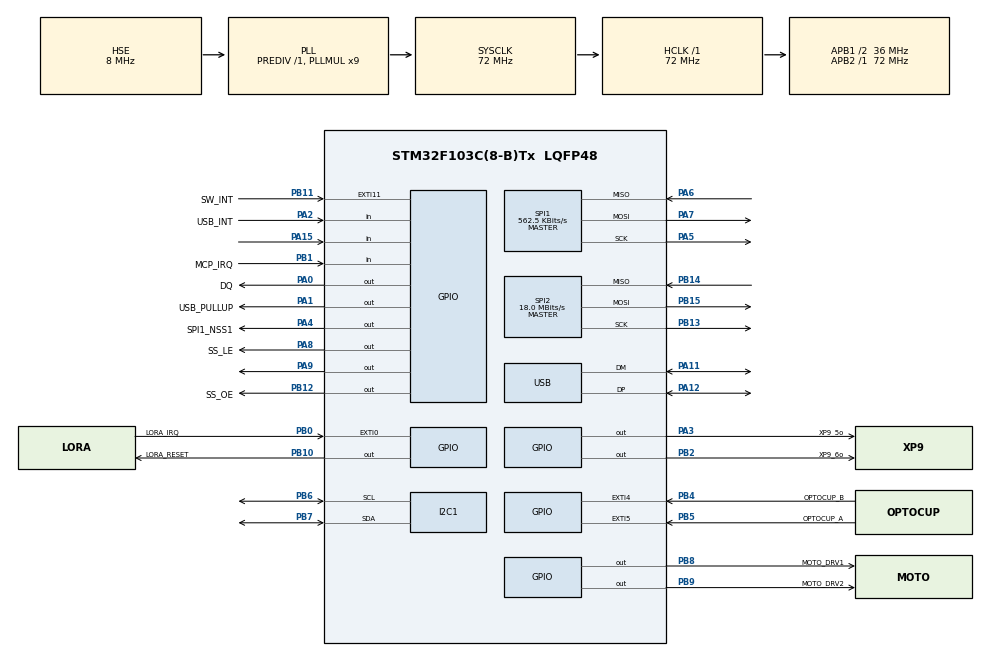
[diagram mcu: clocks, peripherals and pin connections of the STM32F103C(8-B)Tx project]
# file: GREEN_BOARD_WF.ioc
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Mcu.Family=STM32F1
Mcu.Name=STM32F103C(8-B)Tx
Mcu.Package=LQFP48
NVIC.EXTI0_IRQn=true\:0\:0\:false\:false\:true\:true\:true\:true
NVIC.EXTI15_10_IRQn=true\:0\:0\:true\:false\:true\:true\:true\:true
NVIC.EXTI4_IRQn=true\:1\:0\:true\:false\:true\:true\:true\:true
NVIC.EXTI9_5_IRQn=true\:0\:0\:false\:false\:true\:true\:true\:true
NVIC.PriorityGroup=NVIC_PRIORITYGROUP_4
NVIC.TIM1_UP_IRQn=true\:2\:0\:true\:false\:true\:true\:true\:true
NVIC.USB_LP_CAN1_RX0_IRQn=true\:0\:0\:false\:false\:true\:false\:true\:true
PA0-WKUP.GPIO_Label=DQ
PA0-WKUP.Signal=GPIO_Output
PA1.GPIO_Label=USB_PULLUP
PA1.Signal=GPIO_Output
PA11.Mode=Device
PA11.Signal=USB_DM
PA12.Mode=Device
PA12.Signal=USB_DP
PA13.Mode=Trace_Asynchronous_SW
PA13.Signal=SYS_JTMS-SWDIO
PA14.Mode=Trace_Asynchronous_SW
PA14.Signal=SYS_JTCK-SWCLK
PA15.Signal=GPIO_Input
PA2.GPIO_Label=USB_INT
PA2.Signal=GPIO_Input
PA3.GPIO_Label=XP9_5o
PA3.Signal=GPIO_Output
PA4.GPIO_Label=SPI1_NSS1
PA4.Signal=GPIO_Output
PA5.Mode=Full_Duplex_Master
PA5.Signal=SPI1_SCK
PA6.Mode=Full_Duplex_Master
PA6.Signal=SPI1_MISO
PA7.Mode=Full_Duplex_Master
PA7.Signal=SPI1_MOSI
PA8.GPIO_Label=SS_LE
PA8.Signal=GPIO_Output
PA9.Signal=GPIO_Output
PB0.GPIO_Label=LORA_IRQ
PB0.Signal=GPXTI0
PB1.GPIO_Label=MCP_IRQ
PB1.Signal=GPIO_Input
PB10.GPIO_Label=LORA_RESET
PB10.Signal=GPIO_Output
PB11.GPIO_Label=SW_INT
PB11.GPIO_ModeDefaultEXTI=GPIO_MODE_IT_FALLING
PB11.Signal=GPXTI11
PB12.GPIO_Label=SS_OE
PB12.Signal=GPIO_Output
PB13.Mode=Full_Duplex_Master
PB13.Signal=SPI2_SCK
PB14.Mode=Full_Duplex_Master
PB14.Signal=SPI2_MISO
PB15.Mode=Full_Duplex_Master
PB15.Signal=SPI2_MOSI
PB2.GPIO_Label=XP9_6o
PB2.Signal=GPIO_Output
PB3.Mode=Trace_Asynchronous_SW
PB3.Signal=SYS_JTDO-TRACESWO
PB4.GPIO_Label=OPTOCUP_B
PB4.GPIO_ModeDefaultEXTI=GPIO_MODE_IT_RISING_FALLING
PB4.Signal=GPXTI4
PB5.GPIO_Label=OPTOCUP_A
PB5.Signal=GPXTI5
PB6.GPIO_Pu=GPIO_PULLUP
PB6.Mode=I2C
PB6.Signal=I2C1_SCL
PB7.GPIO_Pu=GPIO_PULLUP
PB7.Mode=I2C
PB7.Signal=I2C1_SDA
PB8.GPIO_Label=MOTO_DRV1
PB8.Signal=GPIO_Output
PB9.GPIO_Label=MOTO_DRV2
PB9.Signal=GPIO_Output
PD0-OSC_IN.Mode=HSE-External-Oscillator
PD0-OSC_IN.Signal=RCC_OSC_IN
PD1-OSC_OUT.Mode=HSE-External-Oscillator
PD1-OSC_OUT.Signal=RCC_OSC_OUT
ProjectManager.HeapSize=0x800
ProjectManager.StackSize=0x800
ProjectManager.TargetToolchain=MDK-ARM V5
RCC.AHBFreq_Value=72000000
RCC.APB1CLKDivider=RCC_HCLK_DIV2
RCC.APB1Freq_Value=36000000
RCC.APB1TimFreq_Value=72000000
RCC.APB2Freq_Value=72000000
RCC.APB2TimFreq_Value=72000000
RCC.HCLKFreq_Value=72000000
RCC.PLLMUL=RCC_PLL_MUL9
RCC.PLLSourceVirtual=RCC_PLLSOURCE_HSE
RCC.RTCClockSelection=RCC_RTCCLKSOURCE_LSE
RCC.SYSCLKFreq_VALUE=72000000
RCC.SYSCLKSource=RCC_SYSCLKSOURCE_PLLCLK
RCC.USBFreq_Value=48000000
RCC.USBPrescaler=RCC_USBCLKSOURCE_PLL_DIV1_5
SPI1.BaudRatePrescaler=SPI_BAUDRATEPRESCALER_128
SPI1.CalculateBaudRate=562.5 KBits/s
SPI1.Direction=SPI_DIRECTION_2LINES
SPI1.Mode=SPI_MODE_MASTER
SPI1.VirtualType=VM_MASTER
SPI2.CalculateBaudRate=18.0 MBits/s
SPI2.Direction=SPI_DIRECTION_2LINES
SPI2.Mode=SPI_MODE_MASTER
SPI2.VirtualType=VM_MASTER
TIM1.ClockDivision=TIM_CLOCKDIVISION_DIV1
TIM1.Period=100
TIM1.Prescaler=35999
USB_DEVICE.CLASS_NAME_FS=CDC
USB_DEVICE.VirtualMode=Cdc
USB_DEVICE.VirtualModeFS=Cdc_FS
VP_CRC_VS_CRC.Mode=CRC_Activate
VP_TIM1_VS_ClockSourceINT.Mode=Internal
VP_USB_DEVICE_VS_USB_DEVICE_CDC_FS.Mode=CDC_FS
board=STM_TCTRL_New

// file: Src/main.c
/* USER CODE BEGIN Header */
/**
  ******************************************************************************
  * @file           : main.c
  * @brief          : Main program body
  ******************************************************************************
  * @attention
  *
  * <h2><center>&copy; Copyright (c) 2020 STMicroelectronics.
  * All rights reserved.</center></h2>
  *
  * This software component is licensed by ST under Ultimate Liberty license
  * SLA0044, the "License"; You may not use this file except in compliance with
  * the License. You may obtain a copy of the License at:
  *                             www.st.com/SLA0044
  *
  ******************************************************************************
  */
/* USER CODE END Header */
#include "main.h"
#include "crc.h"
#include "i2c.h"
#include "spi.h"
#include "tim.h"
#include "usb_device.h"
#include "gpio.h"

/* USER CODE BEGIN Includes */
#include "system.h"
#include "sys_config.h"
/* USER CODE END Includes */

void SystemClock_Config(void);

int main(void)
{

  /* MCU Configuration--------------------------------------------------------*/

  /* Reset of all peripherals, Initializes the Flash interface and the Systick. */
  HAL_Init();

  /* Configure the system clock */
  SystemClock_Config();

  /* Initialize all configured peripherals */
  MX_GPIO_Init();
  MX_SPI1_Init();
  MX_SPI2_Init();
  MX_TIM1_Init();
  MX_I2C1_Init();
  MX_USB_DEVICE_Init();
  MX_CRC_Init();
  /* USER CODE BEGIN 2 */

	SysInit();
  /* USER CODE END 2 */

  /* Infinite loop */
  /* USER CODE BEGIN WHILE */

  while (1){

		SystemTask();
		buttons_handler();

		//---------- BTN UP ------------
		if(BTN_UP==SHORT_PRESS){
			BTN_UP=0;
			SetTemp();
			SysCnt.temp_update = 0;
			SysCnt.temp_ctrl = 0;
			//printf("UP short press\r\n");
		}
		if(BTN_UP==LONG_PRESS){
			BTN_UP=0;
			//printf("UP long press\r\n");
		}

		//------- BTN DOWN -----------
		if(BTN_DOWN==SHORT_PRESS){
			BTN_DOWN=0;
			//LED_TOGGLE(LED_BLUE);
			SetTemp();

			//printf("DOWN short press\r\n");
		}
		if(BTN_DOWN==LONG_PRESS){
			BTN_DOWN=0;
			//printf("DOWN long press\r\n");
		}

		//---------- BTN SELECT -------------
		if(BTN_SEL==SHORT_PRESS){
			BTN_SEL=0;
			SysCnt.temp_update = SysState.t_updt_time;
			SysCnt.temp_ctrl = SysState.t_ctrl_time;

		}

		if(BTN_SEL==LONG_PRESS){
			BTN_SEL=0;
			SysState.temp_ctrl_f^=1;
			SysState.ss_update_f = 1;
			SysVarRW(WR,&SV[vn_T_CTRL_F]);
			//printf("SEL long press\r\n");
		}
		if(BTN_SEL==SHORT_PRESS){
			BTN_SEL=0;
			SysCnt.temp_update = SysState.t_updt_time;
			SysCnt.temp_ctrl = SysState.t_ctrl_time;
			//printf("SEL short press\r\n");
		}

	}
    /* USER CODE END WHILE */

}

void SystemClock_Config(void)
{
  RCC_OscInitTypeDef RCC_OscInitStruct = {0};
  RCC_ClkInitTypeDef RCC_ClkInitStruct = {0};
  RCC_PeriphCLKInitTypeDef PeriphClkInit = {0};

  /** Initializes the RCC Oscillators according to the specified parameters
  * in the RCC_OscInitTypeDef structure.
  */
  RCC_OscInitStruct.OscillatorType = RCC_OSCILLATORTYPE_HSE;
  RCC_OscInitStruct.HSEState = RCC_HSE_ON;
  RCC_OscInitStruct.HSEPredivValue = RCC_HSE_PREDIV_DIV1;
  RCC_OscInitStruct.HSIState = RCC_HSI_ON;
  RCC_OscInitStruct.PLL.PLLState = RCC_PLL_ON;
  RCC_OscInitStruct.PLL.PLLSource = RCC_PLLSOURCE_HSE;
  RCC_OscInitStruct.PLL.PLLMUL = RCC_PLL_MUL9;
  if (HAL_RCC_OscConfig(&RCC_OscInitStruct) != HAL_OK)
  {
    Error_Handler();
  }

  /** Initializes the CPU, AHB and APB buses clocks
  */
  RCC_ClkInitStruct.ClockType = RCC_CLOCKTYPE_HCLK|RCC_CLOCKTYPE_SYSCLK
                              |RCC_CLOCKTYPE_PCLK1|RCC_CLOCKTYPE_PCLK2;
  RCC_ClkInitStruct.SYSCLKSource = RCC_SYSCLKSOURCE_PLLCLK;
  RCC_ClkInitStruct.AHBCLKDivider = RCC_SYSCLK_DIV1;
  RCC_ClkInitStruct.APB1CLKDivider = RCC_HCLK_DIV2;
  RCC_ClkInitStruct.APB2CLKDivider = RCC_HCLK_DIV1;

  if (HAL_RCC_ClockConfig(&RCC_ClkInitStruct, FLASH_LATENCY_2) != HAL_OK)
  {
    Error_Handler();
  }
  PeriphClkInit.PeriphClockSelection = RCC_PERIPHCLK_USB;
  PeriphClkInit.UsbClockSelection = RCC_USBCLKSOURCE_PLL_DIV1_5;
  if (HAL_RCCEx_PeriphCLKConfig(&PeriphClkInit) != HAL_OK)
  {
    Error_Handler();
  }
}

void Error_Handler(void)
{
}
